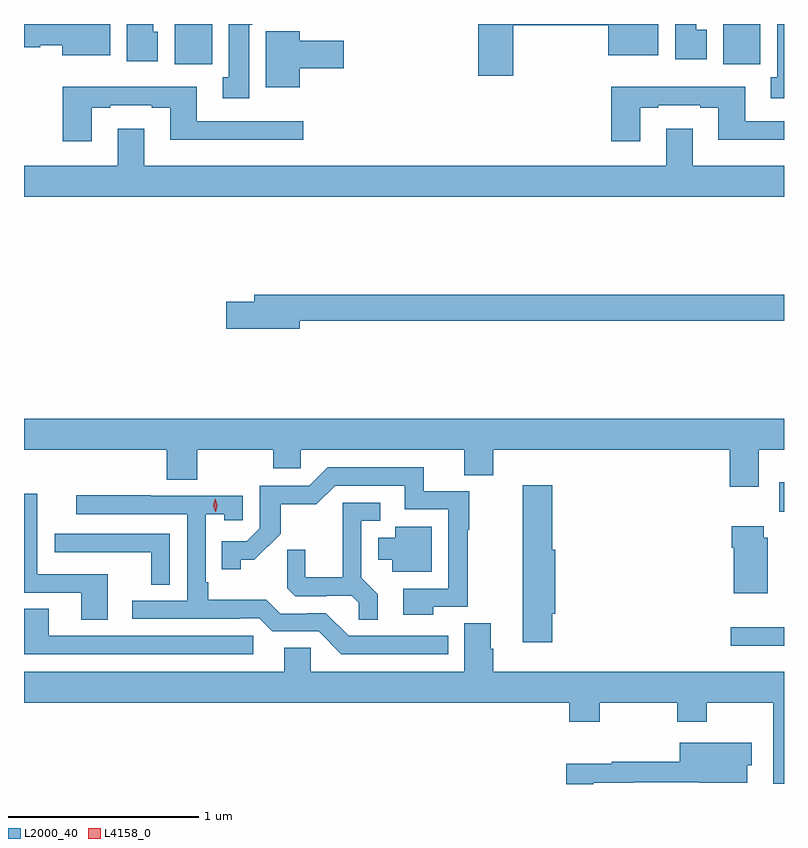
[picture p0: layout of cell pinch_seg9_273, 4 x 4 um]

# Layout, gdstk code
import gdstk
lib = gdstk.Library(unit=1e-6, precision=1e-09)
def R(c, l, rs):  # rectangles x0, y0, x1, y1
    for r in rs: c.add(gdstk.rectangle(r[:2], r[2:], *l))
def P(c, l, *ps):  # polygons
    for p in ps: c.add(gdstk.Polygon(p, *l))
L2000_40 = (2000, 40)
L4158_0 = (4158, 0)

pinch_seg9_273 = lib.new_cell('pinch_seg9_273')
R(pinch_seg9_273, L2000_40, [(423.513,1199.384,423.794,1199.481), (423.77,1200.09,423.794,1200.244), (420.587,1202.444,420.784,1202.657), (423.473,1202.444,423.67,1202.657)])
P(pinch_seg9_273, L2000_40, [(422.369,1202.65),(422.87,1202.65),(422.87,1202.492),(423.133,1202.492),(423.133,1202.657),(422.186,1202.657),(422.186,1202.385),(422.369,1202.385)],
  [(423.388,1202.628),(423.331,1202.628),(423.331,1202.657),(423.221,1202.657),(423.221,1202.472),(423.388,1202.472)],
  [(423.794,1202.657),(423.758,1202.657),(423.758,1202.378),(423.725,1202.378),(423.725,1202.265),(423.794,1202.265)],
  [(420.979,1202.654),(420.994,1202.654),(420.994,1202.657),(420.872,1202.657),(420.872,1202.378),(420.839,1202.378),(420.839,1202.265),(420.979,1202.265)],
  [(420.499,1202.616),(420.475,1202.616),(420.475,1202.657),(420.335,1202.657),(420.335,1202.462),(420.499,1202.462)],
  [(420.247,1202.657),(419.794,1202.657),(419.794,1202.534),(419.88,1202.534),(419.88,1202.546),(419.996,1202.546),(419.996,1202.492),(420.247,1202.492)],
  [(421.246,1202.423),(421.477,1202.423),(421.477,1202.57),(421.246,1202.57),(421.246,1202.62),(421.067,1202.62),(421.067,1202.324),(421.246,1202.324)],
  [(423.037,1202.217),(423.133,1202.217),(423.133,1202.229),(423.353,1202.229),(423.353,1202.217),(423.449,1202.217),(423.449,1202.048),(423.794,1202.048),(423.794,1202.145),(423.589,1202.145),(423.589,1202.326),(422.885,1202.326),(422.885,1202.04),(423.037,1202.04)],
  [(420.151,1202.217),(420.247,1202.217),(420.247,1202.229),(420.467,1202.229),(420.467,1202.217),(420.563,1202.217),(420.563,1202.048),(421.264,1202.048),(421.264,1202.145),(420.703,1202.145),(420.703,1202.326),(419.999,1202.326),(419.999,1202.04),(420.151,1202.04)],
  [(423.794,1201.912),(423.313,1201.912),(423.313,1202.107),(423.173,1202.107),(423.173,1201.912),(420.427,1201.912),(420.427,1202.107),(420.287,1202.107),(420.287,1201.912),(419.794,1201.912),(419.794,1201.748),(423.794,1201.748)],
  [(421.246,1201.096),(423.794,1201.096),(423.794,1201.232),(421.007,1201.232),(421.007,1201.196),(420.858,1201.196),(420.858,1201.054),(421.246,1201.054)],
  [(423.661,1200.416),(423.794,1200.416),(423.794,1200.58),(419.794,1200.58),(419.794,1200.416),(420.545,1200.416),(420.545,1200.259),(420.705,1200.259),(420.705,1200.416),(421.105,1200.416),(421.105,1200.318),(421.251,1200.318),(421.251,1200.416),(422.111,1200.416),(422.111,1200.283),(422.264,1200.283),(422.264,1200.416),(423.509,1200.416),(423.509,1200.222),(423.661,1200.222)],
  [(421.947,1199.589),(422.129,1199.589),(422.129,1199.995),(422.137,1199.995),(422.137,1200.198),(421.898,1200.198),(421.898,1200.324),(421.392,1200.324),(421.296,1200.228),(421.035,1200.228),(421.035,1200.003),(420.966,1199.934),(420.835,1199.934),(420.835,1199.787),(420.936,1199.787),(420.936,1199.837),(421.006,1199.837),(421.144,1199.974),(421.144,1200.13),(421.333,1200.13),(421.431,1200.228),(421.799,1200.228),(421.799,1200.102),(422.028,1200.102),(422.028,1199.685),(421.791,1199.685),(421.791,1199.549),(421.947,1199.549)],
  [(422.573,1199.553),(422.591,1199.553),(422.591,1199.889),(422.573,1199.889),(422.573,1200.229),(422.419,1200.229),(422.419,1199.889),(422.42,1199.889),(422.42,1199.403),(422.573,1199.403)],
  [(420.235,1199.76),(419.865,1199.76),(419.865,1200.184),(419.794,1200.184),(419.794,1199.664),(420.095,1199.664),(420.095,1199.521),(420.235,1199.521)],
  [(422.026,1199.436),(421.503,1199.436),(421.383,1199.556),(421.282,1199.556),(421.282,1199.553),(421.143,1199.553),(421.07,1199.626),(420.763,1199.626),(420.763,1199.719),(420.75,1199.719),(420.75,1200.077),(420.849,1200.077),(420.849,1200.045),(420.945,1200.045),(420.945,1200.174),(420.461,1200.174),(420.461,1200.177),(420.069,1200.177),(420.069,1200.078),(420.654,1200.078),(420.654,1199.622),(420.363,1199.622),(420.363,1199.526),(420.932,1199.526),(420.932,1199.529),(421.032,1199.529),(421.101,1199.46),(421.344,1199.46),(421.464,1199.34),(422.026,1199.34)],
  [(421.655,1199.657),(421.569,1199.743),(421.569,1200.042),(421.669,1200.042),(421.669,1200.138),(421.472,1200.138),(421.472,1199.746),(421.274,1199.746),(421.274,1199.889),(421.18,1199.889),(421.18,1199.687),(421.221,1199.646),(421.386,1199.646),(421.386,1199.649),(421.52,1199.649),(421.557,1199.612),(421.557,1199.521),(421.655,1199.521)],
  [(423.709,1199.952),(423.688,1199.952),(423.688,1200.013),(423.518,1200.013),(423.518,1199.9),(423.53,1199.9),(423.53,1199.66),(423.709,1199.66)],
  [(421.939,1200.01),(421.748,1200.01),(421.748,1199.953),(421.658,1199.953),(421.658,1199.837),(421.733,1199.837),(421.733,1199.774),(421.939,1199.774)],
  [(420.561,1199.973),(419.955,1199.973),(419.955,1199.878),(420.067,1199.878),(420.067,1199.877),(420.463,1199.877),(420.463,1199.707),(420.561,1199.707)],
  [(421,1199.436),(419.923,1199.436),(419.923,1199.579),(419.794,1199.579),(419.794,1199.34),(421,1199.34)],
  [(423.794,1199.248),(422.264,1199.248),(422.264,1199.37),(422.251,1199.37),(422.251,1199.504),(422.111,1199.504),(422.111,1199.248),(421.302,1199.248),(421.302,1199.375),(421.163,1199.375),(421.163,1199.248),(419.794,1199.248),(419.794,1199.084),(422.663,1199.084),(422.663,1198.985),(422.823,1198.985),(422.823,1199.084),(423.232,1199.084),(423.232,1198.985),(423.387,1198.985),(423.387,1199.084),(423.737,1199.084),(423.737,1198.659),(423.794,1198.659)],
  [(422.79,1198.664),(423,1198.664),(423,1198.665),(423.349,1198.665),(423.349,1198.664),(423.601,1198.664),(423.601,1198.755),(423.625,1198.755),(423.625,1198.873),(423.245,1198.873),(423.245,1198.774),(422.887,1198.774),(422.887,1198.764),(422.648,1198.764),(422.648,1198.657),(422.79,1198.657)])
P(pinch_seg9_273, L4158_0, [(420.802,1200.087),(420.802,1200.087),(420.791,1200.122),(420.8,1200.159),(420.8,1200.159),(420.8,1200.159),(420.811,1200.123),(420.802,1200.087)])

lib.write_gds('pinch_seg9_273.gds')
